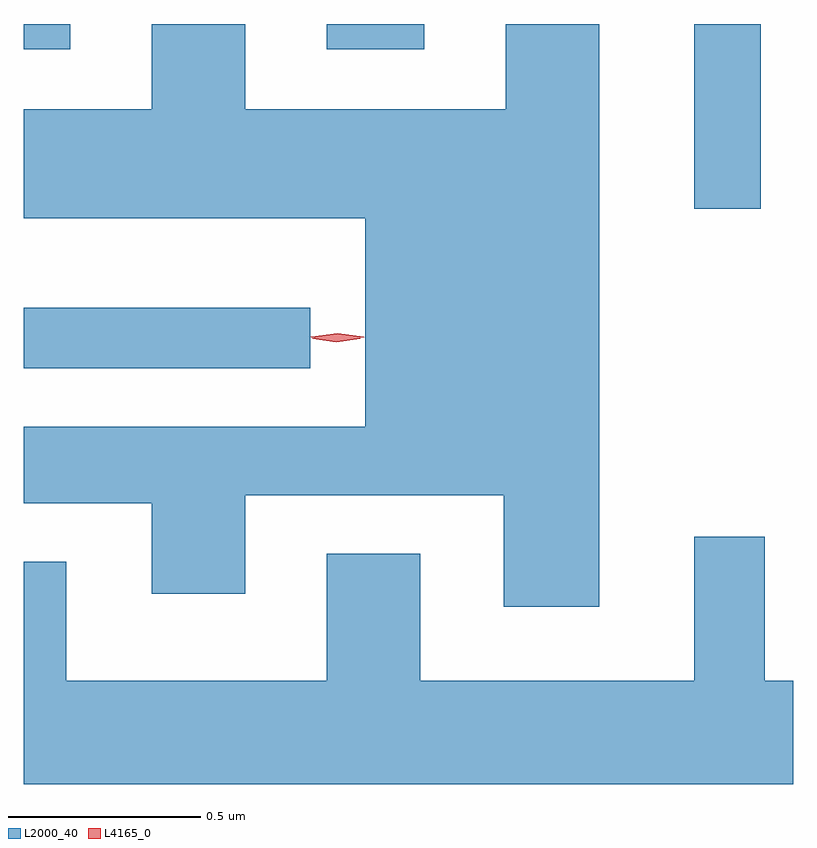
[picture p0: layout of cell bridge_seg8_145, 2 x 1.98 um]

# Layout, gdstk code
import gdstk
lib = gdstk.Library(unit=1e-6, precision=1e-09)
def R(c, l, rs):  # rectangles x0, y0, x1, y1
    for r in rs: c.add(gdstk.rectangle(r[:2], r[2:], *l))
def P(c, l, *ps):  # polygons
    for p in ps: c.add(gdstk.Polygon(p, *l))
L2000_40 = (2000, 40)
L4165_0 = (4165, 0)

bridge_seg8_145 = lib.new_cell('bridge_seg8_145')
R(bridge_seg8_145, L2000_40, [(1861.133,1815.296,1861.878,1815.454), (1862.876,1815.711,1863.049,1816.191), (1861.133,1816.126,1861.254,1816.191), (1861.921,1816.126,1862.174,1816.191)])
P(bridge_seg8_145, L2000_40, [(1862.629,1816.191),(1862.386,1816.191),(1862.386,1815.969),(1861.709,1815.969),(1861.709,1816.191),(1861.466,1816.191),(1861.466,1815.969),(1861.133,1815.969),(1861.133,1815.686),(1862.021,1815.686),(1862.021,1815.144),(1861.133,1815.144),(1861.133,1814.946),(1861.466,1814.946),(1861.466,1814.711),(1861.709,1814.711),(1861.709,1814.966),(1862.381,1814.966),(1862.381,1814.676),(1862.629,1814.676)],
  [(1863.133,1814.484),(1863.059,1814.484),(1863.059,1814.859),(1862.876,1814.859),(1862.876,1814.484),(1862.164,1814.484),(1862.164,1814.814),(1861.921,1814.814),(1861.921,1814.484),(1861.244,1814.484),(1861.244,1814.794),(1861.133,1814.794),(1861.133,1814.216),(1863.133,1814.216)])
P(bridge_seg8_145, L4165_0, [(1861.945,1815.364),(1861.884,1815.373),(1861.883,1815.374),(1861.884,1815.374),(1861.945,1815.384),(1862.007,1815.374),(1862.007,1815.374),(1862.007,1815.373)],
  [(1861.948,1815.367),(1861.88,1815.377),(1861.879,1815.378),(1861.88,1815.378),(1861.949,1815.387),(1862.017,1815.378),(1862.018,1815.377),(1862.017,1815.377)])

lib.write_gds('bridge_seg8_145.gds')
